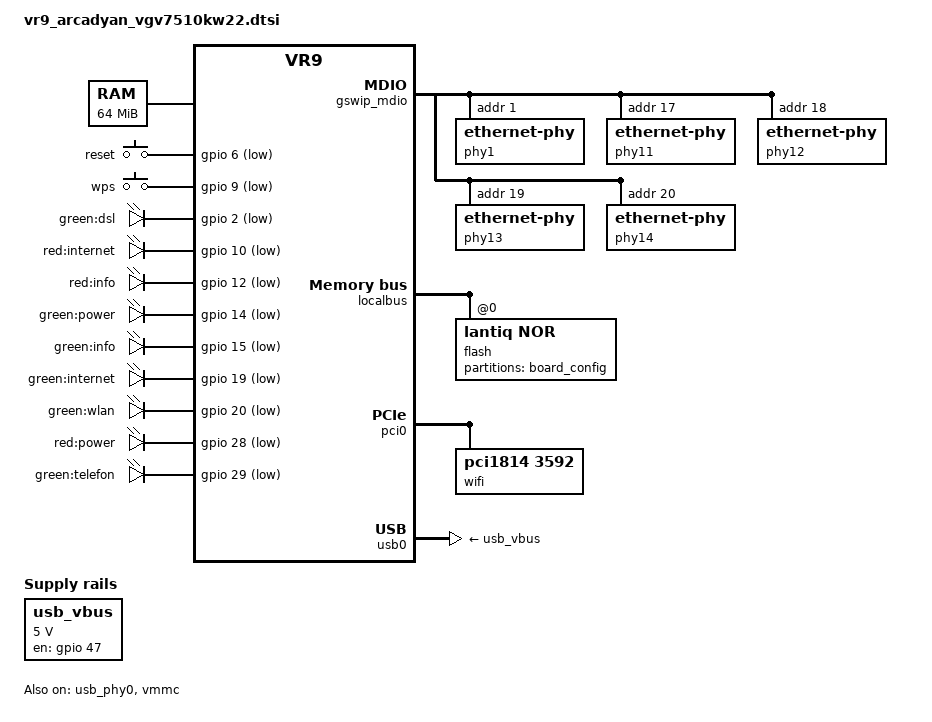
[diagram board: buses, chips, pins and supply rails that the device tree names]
#include "vr9.dtsi"

#include <dt-bindings/input/input.h>
#include <dt-bindings/mips/lantiq_rcu_gphy.h>

/ {
	compatible = "arcadyan,vgv7510kw22", "lantiq,xway", "lantiq,vr9";

	chosen {
		bootargs = "console=ttyLTQ0,115200 mem=62M vpe1_load_addr=0x83e00000 vpe1_mem=2M maxvpes=1 maxtcs=1 nosmp";
	};

	aliases {
		led-boot = &power_green;
		led-failsafe = &power_red;
		led-running = &power_green;
		led-upgrade = &power_green;

		led-dsl = &dsl;
		led-internet = &internet_green;
		led-wifi = &wifi;
	};

	memory@0 {
		device_type = "memory";
		reg = <0x0 0x4000000>;
	};

	keys {
		compatible = "gpio-keys-polled";
		poll-interval = <100>;

		reset {
			label = "reset";
			gpios = <&gpio 6 GPIO_ACTIVE_LOW>;
			linux,code = <KEY_RESTART>;
		};

		wps {
			label = "wps";
			gpios = <&gpio 9 GPIO_ACTIVE_LOW>;
			linux,code = <KEY_WPS_BUTTON>;
		};
	};

	leds {
		compatible = "gpio-leds";

		dsl: dsl {
			label = "green:dsl";
			gpios = <&gpio 2 GPIO_ACTIVE_LOW>;
		};

		internet_red {
			label = "red:internet";
			gpios = <&gpio 10 GPIO_ACTIVE_LOW>;
		};

		info_red {
			label = "red:info";
			gpios = <&gpio 12 GPIO_ACTIVE_LOW>;
		};

		power_green: power {
			label = "green:power";
			gpios = <&gpio 14 GPIO_ACTIVE_LOW>;
			default-state = "keep";
		};

		info_green {
			label = "green:info";
			gpios = <&gpio 15 GPIO_ACTIVE_LOW>;
		};

		internet_green: internet_green {
			label = "green:internet";
			gpios = <&gpio 19 GPIO_ACTIVE_LOW>;
		};

		wifi: wifi {
			label = "green:wlan";
			gpios = <&gpio 20 GPIO_ACTIVE_LOW>;
		};

		power_red: power2 {
			label = "red:power";
			gpios = <&gpio 28 GPIO_ACTIVE_LOW>;
		};

		phone {
			label = "green:telefon";
			gpios = <&gpio 29 GPIO_ACTIVE_LOW>;
		};
	};

	usb_vbus: regulator-usb-vbus {
		compatible = "regulator-fixed";

		regulator-name = "USB_VBUS";

		regulator-min-microvolt = <5000000>;
		regulator-max-microvolt = <5000000>;

		gpio = <&gpio 47 GPIO_ACTIVE_HIGH>;
		enable-active-high;
	};
};

&eth0 {
	nvmem-cells = <&macaddr_boardconfig_16>;
	nvmem-cell-names = "mac-address";
};

&gphy0 {
	lantiq,gphy-mode = <GPHY_MODE_FE>;
};

&gphy1 {
	lantiq,gphy-mode = <GPHY_MODE_FE>;
};

&gpio {
	pinctrl-names = "default";
	pinctrl-0 = <&state_default>, <&gphy0_led1_pins>;

	state_default: pinmux {
		pci-rst {
			lantiq,pins = "io21";
			lantiq,open-drain = <0>;
			lantiq,pull = <0>;
			lantiq,output = <1>;
		};
	};
};

&gswip {
	pinctrl-0 = <&mdio_pins>,
		    <&gphy0_led0_pins>,
		    <&gphy1_led0_pins>, <&gphy1_led1_pins>;
	pinctrl-names = "default";
};

&gswip_mdio {
	phy1: ethernet-phy@1 {
		reg = <0x1>;
	};
	phy11: ethernet-phy@11 {
		reg = <0x11>;
	};
	phy12: ethernet-phy@12 {
		reg = <0x12>;
	};
	phy13: ethernet-phy@13 {
		reg = <0x13>;
	};
	phy14: ethernet-phy@14 {
		reg = <0x14>;
	};
};

&gswip_ports {
	port@0 {
		reg = <0>;
		label = "wan";
		phy-mode = "mii";
		phy-handle = <&phy1>;
	};
	port@2 {
		reg = <2>;
		label = "lan2";
		phy-mode = "internal";
		phy-handle = <&phy11>;
	};
	port@3 {
		reg = <3>;
		label = "lan1";
		phy-mode = "internal";
		phy-handle = <&phy12>;
	};
	port@4 {
		reg = <4>;
		label = "lan4";
		phy-mode = "internal";
		phy-handle = <&phy13>;
	};
	port@5 {
		reg = <5>;
		label = "lan3";
		phy-mode = "internal";
		phy-handle = <&phy14>;
	};
};

&localbus {
	flash@0 {
		compatible = "lantiq,nor";
		bank-width = <2>;
		reg = <0 0x0 0x1000000>;

		partitions {
			compatible = "fixed-partitions";
			#address-cells = <1>;
			#size-cells = <1>;

			boardconfig: partition@fe0000 {
				label = "board_config";
				reg = <0xfe0000 0x20000>;
				read-only;
			};
		};
	};
};

&pci0 {
	status = "okay";
	gpio-reset = <&gpio 21 GPIO_ACTIVE_HIGH>;

	wifi@1814,3592 {
		compatible = "pci1814,3592";
		reg = <0x7000 0 0 0 0>;
		ralink,mtd-eeprom = <&boardconfig 0x410>;
		ralink,mtd-eeprom-swap;
		nvmem-cells = <&macaddr_boardconfig_16>;
		nvmem-cell-names = "mac-address";
		mac-address-increment = <1>;
	};
};

&pcie0 {
	status = "disabled";
};

&usb_phy0 {
	status = "okay";
};

&usb0 {
	status = "okay";
	vbus-supply = <&usb_vbus>;
};

&vmmc {
	status = "okay";
	gpios = <&gpio 30 GPIO_ACTIVE_HIGH  //fxs relay
			 &gpio 31 GPIO_ACTIVE_HIGH  //still unknown
			 &gpio 3  GPIO_ACTIVE_HIGH>; //reset_slic?
};

&boardconfig {
	compatible = "nvmem-cells";
	#address-cells = <1>;
	#size-cells = <1>;

	macaddr_boardconfig_16: macaddr@16 {
		reg = <0x16 0x6>;
	};
};
